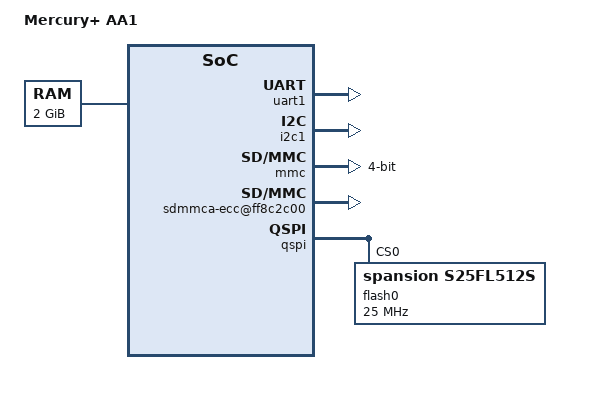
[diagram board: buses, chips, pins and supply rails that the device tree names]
/dts-v1/;
#include "socfpga_arria10.dtsi"
#include "socfpga_arria10-u-boot.dtsi"
#include "socfpga_arria10_handoff.h"
#include "socfpga_arria10-handoff.dtsi"
#include "socfpga_arria10_handoff_u-boot.dtsi"

/ {

	model = "Mercury+ AA1";
	compatible = "altr,socfpga-arria10", "altr,socfpga";

	aliases {
		serial0 = &uart1;
		spi0 = &qspi;
		i2c0 = &i2c1;
	};

	chosen {
		stdout-path = "serial0:115200n8";
	};

	memory@0 {
		name = "memory";
		device_type = "memory";
		reg = <0x0 0x80000000>; /* 2GB */
	};

	soc {
		clkmgr@ffd04000 {
			clocks {
				osc1 {
					clock-frequency = <33330000>;
				};
			};
		};
	};

	fs_loader0: fs-loader {
		u-boot,dm-pre-reloc;
		compatible = "u-boot,fs-loader";
		phandlepart = <&mmc 1>;
	};
};

&fpga_mgr {
	u-boot,dm-pre-reloc;
	firmware-loader = <&fs_loader0>;
	altr,bitstream = "fit_spl_fpga.itb";
};

&l4_main_clk {
	u-boot,dm-pre-reloc;
};

&main_sdmmc_clk {
	u-boot,dm-pre-reloc;
};

&sdmmc_clk {
	u-boot,dm-pre-reloc;
};

&sdmmc_free_clk {
	u-boot,dm-pre-reloc;
};

&peri_sdmmc_clk {
	u-boot,dm-pre-reloc;
};

&uart1 {
	u-boot,dm-pre-reloc;
	status = "okay";
};

&i2c1 {
	/* Max value set according to HW spec */
	i2c-scl-falling-time-ns = <300>;
	status = "okay";
};

&mmc {
	u-boot,dm-pre-reloc;
	status = "okay";
	cap-sd-highspeed;
	broken-cd;
	bus-width = <4>;
};

&eccmgr {
	sdmmca-ecc@ff8c2c00 {
		compatible = "altr,socfpga-sdmmc-ecc";
		reg = <0xff8c2c00 0x400>;
		altr,ecc-parent = <&mmc>;
		interrupts = <15 IRQ_TYPE_LEVEL_HIGH>,
			     <47 IRQ_TYPE_LEVEL_HIGH>,
			     <16 IRQ_TYPE_LEVEL_HIGH>,
			     <48 IRQ_TYPE_LEVEL_HIGH>;
	};
};

&qspi {
	u-boot,dm-pre-reloc;
	status = "okay";

	flash0: s25fl512s@0 {
		u-boot,dm-pre-reloc;
		#address-cells = <1>;
		#size-cells = <1>;
		compatible = "spansion,s25fl512s", "jedec,spi-nor";
		reg = <0>;
		spi-max-frequency = <25000000>;

		page-size = <256>;
		block-size = <16>; /* 2^16, 64KB */
		cdns,page-size = <256>;
		cdns,block-size = <16>;
		cdns,tshsl-ns = <200>;
		cdns,tsd2d-ns = <255>;
		cdns,tchsh-ns = <20>;
		cdns,tslch-ns = <20>;
	};
};

&watchdog1 {
	u-boot,dm-pre-reloc;
	status = "disabled";
};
